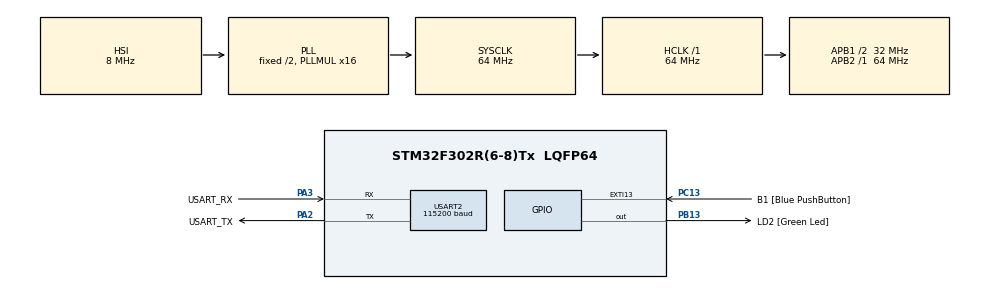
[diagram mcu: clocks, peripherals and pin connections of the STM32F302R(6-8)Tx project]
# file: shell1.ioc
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Dma.Request0=USART2_RX
Dma.USART2_RX.0.Direction=DMA_PERIPH_TO_MEMORY
Dma.USART2_RX.0.Instance=DMA1_Channel6
Dma.USART2_RX.0.MemDataAlignment=DMA_MDATAALIGN_BYTE
Dma.USART2_RX.0.MemInc=DMA_MINC_ENABLE
Dma.USART2_RX.0.Mode=DMA_NORMAL
Dma.USART2_RX.0.PeriphDataAlignment=DMA_PDATAALIGN_BYTE
Dma.USART2_RX.0.PeriphInc=DMA_PINC_DISABLE
Dma.USART2_RX.0.Priority=DMA_PRIORITY_LOW
Mcu.Family=STM32F3
Mcu.Name=STM32F302R(6-8)Tx
Mcu.Package=LQFP64
NVIC.DMA1_Channel6_IRQn=true\:0\:0\:false\:false\:true\:false\:true\:true
NVIC.PriorityGroup=NVIC_PRIORITYGROUP_0
NVIC.USART2_IRQn=true\:0\:0\:false\:false\:true\:true\:true\:true
PA13.GPIO_Label=TMS
PA13.Mode=Serial_Wire
PA13.Signal=SYS_JTMS-SWDIO
PA14.GPIO_Label=TCK
PA14.Mode=Serial_Wire
PA14.Signal=SYS_JTCK-SWCLK
PA2.GPIO_Label=USART_TX
PA2.GPIO_Mode=GPIO_MODE_AF_PP
PA2.GPIO_PuPd=GPIO_NOPULL
PA2.GPIO_Speed=GPIO_SPEED_FREQ_LOW
PA2.Mode=Asynchronous
PA2.Signal=USART2_TX
PA3.GPIO_Label=USART_RX
PA3.GPIO_Mode=GPIO_MODE_AF_PP
PA3.GPIO_PuPd=GPIO_NOPULL
PA3.GPIO_Speed=GPIO_SPEED_FREQ_LOW
PA3.Mode=Asynchronous
PA3.Signal=USART2_RX
PB13.GPIO_Label=LD2 [Green Led]
PB13.Signal=GPIO_Output
PB3.GPIO_Label=SWO
PB3.Mode=Trace_Asynchronous_SW
PB3.Signal=SYS_JTDO-TRACESWO
PC13.GPIO_Label=B1 [Blue PushButton]
PC13.GPIO_ModeDefaultEXTI=GPIO_MODE_IT_FALLING
PC13.Signal=GPXTI13
PC14\ -\ OSC32_IN.Mode=LSE-External-Oscillator
PC14\ -\ OSC32_IN.Signal=RCC_OSC32_IN
PC15\ -\ OSC32_OUT.Mode=LSE-External-Oscillator
PC15\ -\ OSC32_OUT.Signal=RCC_OSC32_OUT
PF0-OSC_IN.Mode=HSE-External-Clock-Source
PF0-OSC_IN.Signal=RCC_OSC_IN
PF1-OSC_OUT.Signal=RCC_OSC_OUT
ProjectManager.HeapSize=0x200
ProjectManager.StackSize=0x400
ProjectManager.TargetToolchain=CMake
RCC.AHBFreq_Value=64000000
RCC.APB1CLKDivider=RCC_HCLK_DIV2
RCC.APB1Freq_Value=32000000
RCC.APB1TimFreq_Value=64000000
RCC.APB2Freq_Value=64000000
RCC.APB2TimFreq_Value=64000000
RCC.CortexFreq_Value=64000000
RCC.HCLKFreq_Value=64000000
RCC.HSE_VALUE=8000000
RCC.HSI_VALUE=8000000
RCC.PLLM=8
RCC.PLLMUL=RCC_PLL_MUL16
RCC.PLLN=336
RCC.PLLP=RCC_PLLP_DIV4
RCC.PLLQ=7
RCC.RCC_PLLsource_Clock_Source_FROM_HSE=RCC_HSE_PREDIV_DIV2
RCC.SYSCLKFreq_VALUE=64000000
RCC.SYSCLKSourceVirtual=RCC_SYSCLKSOURCE_PLLCLK
RCC.USBFreq_Value=64000000
USART2.BaudRate=115200
USART2.VirtualMode-Asynchronous=VM_ASYNC
board=NUCLEO-F302R8

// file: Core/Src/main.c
/* USER CODE BEGIN Header */
/**
 ******************************************************************************
 * @file           : main.c
 * @brief          : Main program body
 ******************************************************************************
 * @attention
 *
 * Copyright (c) 2026 STMicroelectronics.
 * All rights reserved.
 *
 * This software is licensed under terms that can be found in the LICENSE file
 * in the root directory of this software component.
 * If no LICENSE file comes with this software, it is provided AS-IS.
 *
 ******************************************************************************
 */
/* USER CODE END Header */
#include "main.h"

/* USER CODE BEGIN Includes */
#include "shell.h"

#include <stdio.h>
#include <string.h>
/* USER CODE END Includes */

UART_HandleTypeDef huart2;
DMA_HandleTypeDef hdma_usart2_rx;
__IO uint8_t ui8_shellMessage = 0;

static uint8_t ui8_rxBuffer[APP_INPUT_BUF_SIZE];
static char c_shellInput[APP_INPUT_BUF_SIZE]; /** Input buffer for the command line interpreter. */

void SystemClock_Config(void);
static void MX_GPIO_Init(void);
static void MX_DMA_Init(void);
static void MX_USART2_UART_Init(void);

/* USER CODE BEGIN 0 */
void HAL_UARTEx_RxEventCallback(UART_HandleTypeDef *huart, uint16_t Size)
{
    /** Copy RxBuffer to cli_input buffer for processing*/
    memcpy(c_shellInput, ui8_rxBuffer, Size);

    /* start the DMA again */
    HAL_UARTEx_ReceiveToIdle_DMA(&huart2, ui8_rxBuffer, APP_INPUT_BUF_SIZE);
    __HAL_DMA_DISABLE_IT(&hdma_usart2_rx, DMA_IT_HT);

    /** Set New message available for processing */
    ui8_shellMessage = 1;
}

/* USER CODE END 0 */

int main(void)
{
    /* USER CODE BEGIN 1 */
    int8_t i8_shellStatus;
    /* USER CODE END 1 */

    /* MCU Configuration--------------------------------------------------------*/

    /* Reset of all peripherals, Initializes the Flash interface and the Systick. */
    HAL_Init();

    /* Configure the system clock */
    SystemClock_Config();

    /* Initialize all configured peripherals */
    MX_GPIO_Init();
    MX_DMA_Init();
    MX_USART2_UART_Init();
    /* USER CODE BEGIN 2 */
    printf("Hello, World!\n");

    HAL_UARTEx_ReceiveToIdle_DMA(&huart2, ui8_rxBuffer, APP_INPUT_BUF_SIZE);
    __HAL_DMA_DISABLE_IT(&hdma_usart2_rx, DMA_IT_HT); // Disable half-transfer interrupt for the DMA
    /* USER CODE END 2 */

    /* Infinite loop */
    /* USER CODE BEGIN WHILE */
    while (1)
    {
        if (ui8_shellMessage)
        {
            ui8_shellMessage = 0;

            i8_shellStatus = shell_process(c_shellInput);

            if (i8_shellStatus != 0)
            {
                printf("Shell err: %d\n", i8_shellStatus);
            }
            else
            {
                printf("ACK\n");
            }
        }
        memset(c_shellInput, 0, APP_INPUT_BUF_SIZE);

        /* USER CODE END WHILE */

    }
}

void SystemClock_Config(void)
{
    RCC_OscInitTypeDef RCC_OscInitStruct = {0};
    RCC_ClkInitTypeDef RCC_ClkInitStruct = {0};

    /** Initializes the RCC Oscillators according to the specified parameters
     * in the RCC_OscInitTypeDef structure.
     */
    RCC_OscInitStruct.OscillatorType      = RCC_OSCILLATORTYPE_HSI;
    RCC_OscInitStruct.HSIState            = RCC_HSI_ON;
    RCC_OscInitStruct.HSICalibrationValue = RCC_HSICALIBRATION_DEFAULT;
    RCC_OscInitStruct.PLL.PLLState        = RCC_PLL_ON;
    RCC_OscInitStruct.PLL.PLLSource       = RCC_PLLSOURCE_HSI;
    RCC_OscInitStruct.PLL.PLLMUL          = RCC_PLL_MUL16;
    if (HAL_RCC_OscConfig(&RCC_OscInitStruct) != HAL_OK)
    {
        Error_Handler();
    }

    /** Initializes the CPU, AHB and APB buses clocks
     */
    RCC_ClkInitStruct.ClockType = RCC_CLOCKTYPE_HCLK | RCC_CLOCKTYPE_SYSCLK | RCC_CLOCKTYPE_PCLK1 | RCC_CLOCKTYPE_PCLK2;
    RCC_ClkInitStruct.SYSCLKSource   = RCC_SYSCLKSOURCE_PLLCLK;
    RCC_ClkInitStruct.AHBCLKDivider  = RCC_SYSCLK_DIV1;
    RCC_ClkInitStruct.APB1CLKDivider = RCC_HCLK_DIV2;
    RCC_ClkInitStruct.APB2CLKDivider = RCC_HCLK_DIV1;

    if (HAL_RCC_ClockConfig(&RCC_ClkInitStruct, FLASH_LATENCY_2) != HAL_OK)
    {
        Error_Handler();
    }
}

static void MX_USART2_UART_Init(void)
{

    huart2.Instance                    = USART2;
    huart2.Init.BaudRate               = 115200;
    huart2.Init.WordLength             = UART_WORDLENGTH_8B;
    huart2.Init.StopBits               = UART_STOPBITS_1;
    huart2.Init.Parity                 = UART_PARITY_NONE;
    huart2.Init.Mode                   = UART_MODE_TX_RX;
    huart2.Init.HwFlowCtl              = UART_HWCONTROL_NONE;
    huart2.Init.OverSampling           = UART_OVERSAMPLING_16;
    huart2.Init.OneBitSampling         = UART_ONE_BIT_SAMPLE_DISABLE;
    huart2.AdvancedInit.AdvFeatureInit = UART_ADVFEATURE_NO_INIT;
    if (HAL_UART_Init(&huart2) != HAL_OK)
    {
        Error_Handler();
    }
}

static void MX_DMA_Init(void)
{
    /* DMA controller clock enable */
    __HAL_RCC_DMA1_CLK_ENABLE();

    /* DMA interrupt init */
    /* DMA1_Channel6_IRQn interrupt configuration */
    HAL_NVIC_SetPriority(DMA1_Channel6_IRQn, 0, 0);
    HAL_NVIC_EnableIRQ(DMA1_Channel6_IRQn);
}

static void MX_GPIO_Init(void)
{
    GPIO_InitTypeDef GPIO_InitStruct = {0};

    /* GPIO Ports Clock Enable */
    __HAL_RCC_GPIOC_CLK_ENABLE();
    __HAL_RCC_GPIOF_CLK_ENABLE();
    __HAL_RCC_GPIOA_CLK_ENABLE();
    __HAL_RCC_GPIOB_CLK_ENABLE();

    /*Configure GPIO pin Output Level */
    HAL_GPIO_WritePin(LD2_GPIO_Port, LD2_Pin, GPIO_PIN_RESET);

    /*Configure GPIO pin : B1_Pin */
    GPIO_InitStruct.Pin  = B1_Pin;
    GPIO_InitStruct.Mode = GPIO_MODE_IT_FALLING;
    GPIO_InitStruct.Pull = GPIO_NOPULL;
    HAL_GPIO_Init(B1_GPIO_Port, &GPIO_InitStruct);

    /*Configure GPIO pin : LD2_Pin */
    GPIO_InitStruct.Pin   = LD2_Pin;
    GPIO_InitStruct.Mode  = GPIO_MODE_OUTPUT_PP;
    GPIO_InitStruct.Pull  = GPIO_NOPULL;
    GPIO_InitStruct.Speed = GPIO_SPEED_FREQ_LOW;
    HAL_GPIO_Init(LD2_GPIO_Port, &GPIO_InitStruct);

}

/* USER CODE BEGIN 4 */
int __io_putchar(int ch)
{
    HAL_UART_Transmit(&huart2, (uint8_t *) &ch, 1, HAL_MAX_DELAY);
    return ch;
}

/* USER CODE END 4 */

void Error_Handler(void)
{
    __disable_irq();
    while (1)
    {
    }
}
